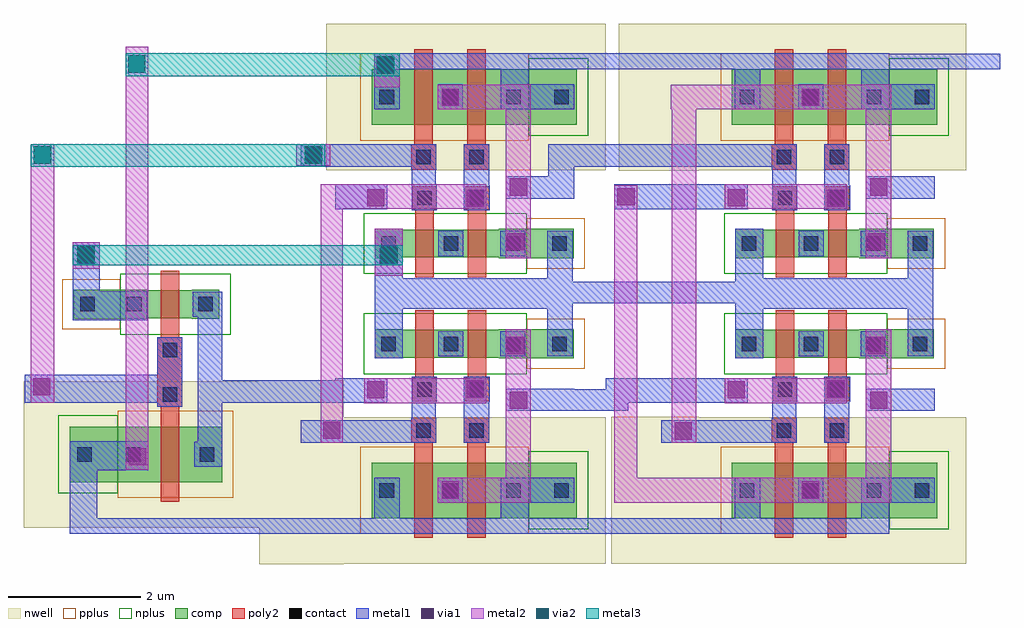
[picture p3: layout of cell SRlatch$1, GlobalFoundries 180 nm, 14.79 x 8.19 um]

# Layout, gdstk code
from math import pi, radians
import gdstk
lib = gdstk.Library(unit=1e-6, precision=5e-09)
def R(c, l, rs):  # rectangles x0, y0, x1, y1
    for r in rs: c.add(gdstk.rectangle(r[:2], r[2:], *l))
def A(c, l, x, y, w, h, nx, ny, dx, dy):  # array of equal rectangles
    R(c, l, [(x+i*dx, y+j*dy, x+i*dx+w, y+j*dy+h) for i in range(nx) for j in range(ny)])
def P(c, l, *ps):  # polygons
    for p in ps: c.add(gdstk.Polygon(p, *l))
nwell = (21, 0)
comp = (22, 0)
poly2 = (30, 0)
pplus = (31, 0)
nplus = (32, 0)
contact = (33, 0)
metal1 = (34, 0)
via1 = (35, 0)
metal2 = (36, 0)
via2 = (38, 0)
metal3 = (42, 0)

pfet_4 = lib.new_cell('pfet$4')
R(pfet_4, nwell, [(-7.835,4.95,-4.145,7.17)])
R(pfet_4, comp, [(-7.145,5.64,-6.685,6.48), (-6.685,5.64,-6.025,6.48), (-6.025,5.64,-5.565,6.48), (-5.565,5.64,-4.835,6.48)])
R(pfet_4, poly2, [(-6.495,5.34,-6.215,6.78), (-6.545,6.78,-6.165,7.16)])
R(pfet_4, pplus, [(-7.315,5.4,-5.565,6.72)])
R(pfet_4, nplus, [(-5.565,5.47,-4.665,6.65)])
R(pfet_4, contact, [(-7.025,5.95,-6.805,6.17), (-5.905,5.95,-5.685,6.17), (-5.175,5.95,-4.955,6.17), (-6.465,6.86,-6.245,7.08)])
R(pfet_4, metal1, [(-7.105,5.87,-6.725,6.25), (-5.985,5.87,-5.605,6.25), (-5.255,5.87,-4.875,6.25), (-6.545,6.78,-6.165,7.16)])

nfet_1_4 = lib.new_cell('nfet$1$4')
R(nfet_1_4, comp, [(-7.105,-5.65,-6.685,-5.21), (-6.025,-5.65,-5.605,-5.21), (-5.605,-5.65,-4.895,-5.21), (-6.685,-5.64,-6.025,-5.22)])
R(nfet_1_4, poly2, [(-6.495,-5.94,-6.215,-4.92), (-6.535,-4.92,-6.175,-4.56)])
R(nfet_1_4, pplus, [(-5.605,-5.81,-4.725,-5.05)])
R(nfet_1_4, nplus, [(-7.275,-5.89,-5.605,-4.97)])
R(nfet_1_4, contact, [(-7.005,-5.54,-6.785,-5.32), (-5.925,-5.54,-5.705,-5.32), (-5.215,-5.54,-4.995,-5.32), (-6.465,-4.85,-6.245,-4.63)])
R(nfet_1_4, metal1, [(-7.085,-5.62,-6.705,-5.24), (-6.005,-5.62,-5.625,-5.24), (-5.295,-5.62,-4.915,-5.24), (-6.545,-4.93,-6.165,-4.55)])

inv_1_2 = lib.new_cell('inv$1$2')
R(inv_1_2, poly2, [(7.04,-5.505,7.42,-4.45)])
R(inv_1_2, metal1, [(5.755,-6.2,6.885,-5.76), (7.655,-6.195,8.02,-3.54), (7.04,-5.505,7.42,-4.485), (5.035,-4.935,7.415,-4.51), (7.655,-4.85,8.94,-4.51), (5.715,-3.93,6.905,-3.49)])
P(inv_1_2, metal1, [(7.04,-4.485),(7.04,-4.485),(7.42,-4.485),(7.42,-4.485)])
inv_1_2.add(gdstk.Reference(pfet_4, (0.875,2.33), rotation=pi))
inv_1_2.add(gdstk.Reference(nfet_1_4, (0.875,-0.575), rotation=pi, x_reflection=True))

inv_3 = lib.new_cell('inv$3')
inv_3.add(gdstk.Reference(inv_1_2, (0,0)))

nfet_1_1_2 = lib.new_cell('nfet$1$1$2')
R(nfet_1_1_2, comp, [(-0.42,-0.01,0,0.43), (1.46,-0.01,1.88,0.43), (1.88,-0.01,2.59,0.43), (0,0,1.46,0.42)])
R(nfet_1_1_2, poly2, [(0.19,-0.3,0.47,0.72), (0.99,-0.3,1.27,0.72), (0.15,0.72,0.51,1.08), (0.95,0.72,1.31,1.08)])
R(nfet_1_1_2, pplus, [(1.88,-0.17,2.76,0.59)])
R(nfet_1_1_2, nplus, [(-0.59,-0.25,1.88,0.67)])
A(nfet_1_1_2, contact, -0.32, 0.1, 0.22, 0.22, 3, 1, 0.94, 0)
R(nfet_1_1_2, contact, [(2.27,0.1,2.49,0.32), (0.22,0.79,0.44,1.01), (1.02,0.79,1.24,1.01)])
A(nfet_1_1_2, metal1, -0.4, 0.02, 0.38, 0.38, 3, 1, 0.94, 0)
R(nfet_1_1_2, metal1, [(2.19,0.02,2.57,0.4), (0.14,0.71,0.52,1.09), (0.94,0.71,1.32,1.09)])

pfet_1_3 = lib.new_cell('pfet$1$3')

pfet_3_1 = lib.new_cell('pfet$3$1')
R(pfet_3_1, nwell, [(-1.15,-0.69,3.085,1.53)])
R(pfet_3_1, comp, [(-0.46,0,0,0.84), (0,0,1.46,0.84), (1.46,0,1.92,0.84), (1.92,0,2.65,0.84)])
R(pfet_3_1, poly2, [(0.19,-0.3,0.47,1.14), (0.99,-0.3,1.27,1.14), (0.14,1.14,0.52,1.52), (0.94,1.14,1.32,1.52)])
R(pfet_3_1, pplus, [(-0.63,-0.24,1.92,1.08)])
R(pfet_3_1, nplus, [(1.92,-0.17,2.82,1.01)])
A(pfet_3_1, contact, -0.34, 0.31, 0.22, 0.22, 3, 1, 0.96, 0)
R(pfet_3_1, contact, [(2.31,0.31,2.53,0.53), (0.22,1.22,0.44,1.44), (1.02,1.22,1.24,1.44)])
A(pfet_3_1, metal1, -0.42, 0.23, 0.38, 0.38, 3, 1, 0.96, 0)
R(pfet_3_1, metal1, [(2.23,0.23,2.61,0.61), (0.14,1.14,0.52,1.52), (0.94,1.14,1.32,1.52)])

nand_1 = lib.new_cell('NAND$1')
R(nand_1, metal1, [(-6.105,2.15,-5.685,3.19), (-6.105,2.15,-3.105,2.44), (-3.495,2.15,-3.105,3.16), (-4.755,3.47,-4.375,4.47), (-6.705,3.49,-5.92,3.865), (-5.545,3.545,-5.18,4.47), (-4.125,3.65,-3.085,3.985), (-7.23,4.13,-5.175,4.47), (-6.115,5,-5.73,5.85), (-4.195,5,-3.09,5.38), (-4.195,5.005,-3.775,5.85), (-6.115,5.61,-3.775,5.85)])
R(nand_1, via1, [(-4.1,2.865,-3.84,3.125), (-4.71,3.525,-4.45,3.785), (-6.22,3.535,-5.96,3.795), (-4.06,3.695,-3.8,3.955), (-5.095,5.055,-4.835,5.315)])
R(nand_1, metal2, [(-4.125,2.75,-3.74,5.38), (-6.265,3.495,-4.415,3.87), (-4.125,3.65,-3.74,3.99), (-5.155,5,-3.795,5.375)])
nand_1.add(gdstk.Reference(nfet_1_1_2, (-5.685,2.76)))
nand_1.add(gdstk.Reference(pfet_1_3, (-6.585,1.075)))
nand_1.add(gdstk.Reference(pfet_3_1, (-5.695,5.61), x_reflection=True))

nand = lib.new_cell('NAND')
nand.add(gdstk.Reference(nand_1, (0,0)))

srlatch_1 = lib.new_cell('SRlatch$1')
R(srlatch_1, nwell, [(6.665,2.625,7.95,5.41), (12,2.63,13.325,4.86), (12.115,8.59,13.32,10.815)])
R(srlatch_1, metal1, [(3.8,3.085,8.84,3.325), (10.43,3.085,14.56,3.32), (3.8,3.115,4.215,4.485), (11.265,4.95,12.25,5.28), (11.92,4.95,12.26,5.41), (6.775,5.07,8.26,5.41), (11.92,5.07,13.355,5.445), (3.84,6.32,4.255,7.505), (10.005,6.58,16,6.905), (12.045,8.005,13.54,8.385), (11.05,8.17,11.44,8.985), (11.05,8.645,12.03,8.985), (11.9,8.645,12.9,8.985), (10.27,10.125,14.505,10.365), (15.79,10.125,17.89,10.36)])
R(srlatch_1, via1, [(4.695,4.125,4.955,4.385), (12.96,4.515,13.22,4.775), (7.635,4.525,7.895,4.785), (3.245,5.185,3.505,5.445), (8.495,7.175,8.755,7.435), (3.92,7.18,4.18,7.44), (12.095,8.065,12.355,8.325), (7.36,8.69,7.62,8.95), (8.44,10.065,8.7,10.325)])
P(srlatch_1, via1, [(7.1,7.785),(7.1,7.785),(7.1,7.785),(7.1,7.785)])
R(srlatch_1, metal2, [(12.045,3.56,12.395,8.37), (12.06,3.56,15.21,3.935), (4.65,4.055,4.985,10.365), (7.6,4.465,7.93,8.38), (12.915,4.47,13.285,9.89), (3.21,5.07,3.56,8.985), (8.42,7,8.84,7.705), (3.84,7.1,4.255,7.505), (7.69,8.01,8.35,8.38), (3.21,8.645,3.56,8.985), (7.23,8.665,7.745,8.985), (12.905,9.52,15.035,9.89), (8.41,9.855,8.795,10.365), (4.65,10.195,4.985,10.465)])
R(srlatch_1, via2, [(8.505,7.175,8.765,7.435), (3.915,7.18,4.175,7.44), (3.255,8.695,3.515,8.955), (7.36,8.695,7.62,8.955), (8.455,10.06,8.715,10.32), (4.685,10.075,4.945,10.335)])
R(srlatch_1, metal3, [(3.84,7.155,8.845,7.455), (3.21,8.645,7.67,8.985), (4.65,10.015,8.795,10.365)])
srlatch_1.add(gdstk.Reference(inv_3, (-1.915,0.56), x_reflection=True))
srlatch_1.add(gdstk.Reference(nand, (14.525,8.935), x_reflection=True))
srlatch_1.add(gdstk.Reference(nand, (14.525,8.935), x_reflection=True))
srlatch_1.add(gdstk.Reference(nand, (14.525,4.515)))
srlatch_1.add(gdstk.Reference(nand, (14.525,4.515)))
srlatch_1.add(gdstk.Reference(nand, (19.985,4.515)))
srlatch_1.add(gdstk.Reference(nand, (19.985,4.515)))
srlatch_1.add(gdstk.Reference(nand, (19.985,8.935), x_reflection=True))
srlatch_1.add(gdstk.Reference(nand, (19.985,8.935), x_reflection=True))

lib.write_gds('SRlatch_1.gds')
